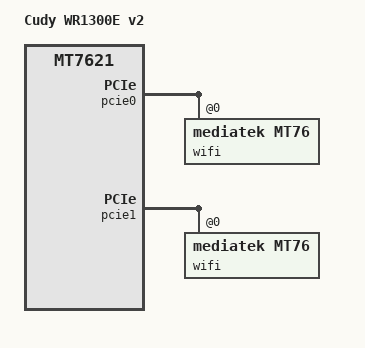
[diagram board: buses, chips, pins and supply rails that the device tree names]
// SPDX-License-Identifier: GPL-2.0-or-later OR MIT
// WR1300E v2 board overlay reconstructed from prior build specifications.
// UNTESTED on physical hardware. Verify board, GPIO, Wi-Fi and port mapping.
#include "mt7621_cudy_wr1300-v2v3.dtsi"

/ {
	compatible = "cudy,wr1300e-v2", "mediatek,mt7621-soc";
	model = "Cudy WR1300E v2";
};

/* WR1300E uses two LAN connectors on switch ports 2 and 3. */
&switch0 {
	ports {
		port@1 {
			status = "disabled";
		};
		port@2 {
			label = "lan2";
		};
		port@3 {
			label = "lan1";
		};
		port@4 {
			status = "disabled";
		};
	};
};

/* Unlike WR1300 v2, the two radios are connected in the reverse order. */
&pcie0 {
	wifi@0,0 {
		compatible = "mediatek,mt76";
		reg = <0x0000 0 0 0 0>;
		nvmem-cells = <&eeprom_factory_0>, <&macaddr_bdinfo_de00 0>;
		nvmem-cell-names = "eeprom", "mac-address";
		ieee80211-freq-limit = <2400000 2500000>;
	};
};

&pcie1 {
	wifi@0,0 {
		compatible = "mediatek,mt76";
		reg = <0x0000 0 0 0 0>;
		nvmem-cells = <&eeprom_factory_8000>, <&macaddr_bdinfo_de00 2>;
		nvmem-cell-names = "eeprom", "mac-address";
		ieee80211-freq-limit = <5000000 6000000>;
	};
};
